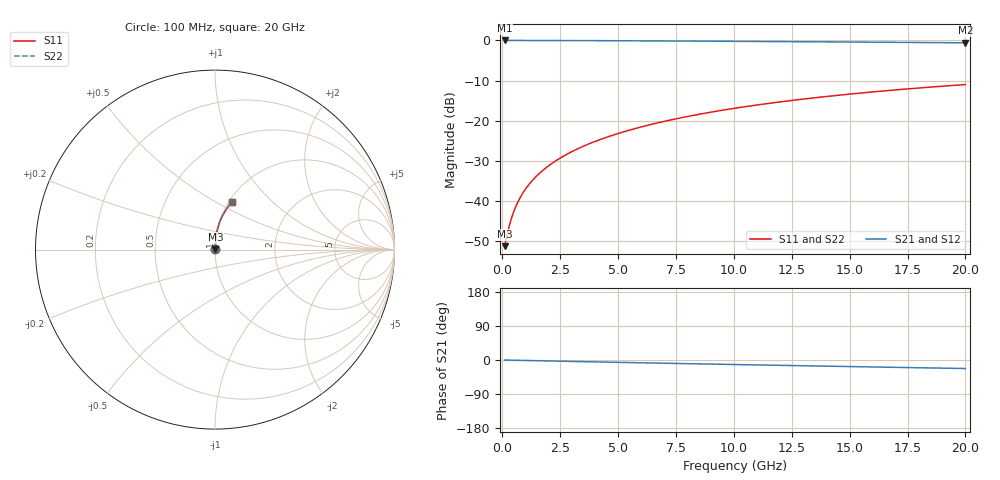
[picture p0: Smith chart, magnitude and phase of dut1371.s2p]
! Touchstone file exported from HFSS 2024.1.0
!  File:  C:/UserFiles/LocalFiles/RDL_TSV_Batchsim/temp_RDL_bottom_1371_1780371142.aedt
!  Generated:  11:35:01 AM Jun  2, 2026
!  Design:  RDL_bottom
!  Project:  temp_RDL_bottom_1371_1780371142
!  Setup:  Setup1
!  Solution:  Sweep
! Variables:
!  dtsv = 10.80580581um
!  hbump = 3um
!  htsv = 65.86um
!  ldown = 233.87um
!  lrdl = 100um
!  p = 40
!  p1 = 58.6um
!  rhole = 1um
!  t = 450um
!  tdown = 2.27um
!  trdl = 3.915915916um
!  wdown = 18.02um
!  wrdl = 20um
# GHz S MA R 50.000000
! Terminal data exported
! Port[1] = RDL1_T1
! Port[2] = RDL1_T2
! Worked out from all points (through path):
!   200 points, 100 MHz to 20 GHz, reference 50 ohm
!   highest |S21| = -0.02 dB at 100 MHz (marker M1); lowest = -0.6 dB at 20 GHz (marker M2)
!   group delay of S21, straight-line fit = 3.11 ps
!   lowest |S11| = -51.2 dB at 100 MHz (marker M3), VSWR 1.01, Z = 50.2 + j0.144 ohm
!   |S11| at or under -10 dB: start of sweep to end of sweep
!   |S22| runs from -51.2 to -11.0 dB; largest |S21 - S12| = 2.6e-15
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0.1  0.002745 31.4  0.9977 -0.1  0.9977 -0.1  0.002745 31.4
! Gamma 0 0 0 0
! Port Impedance 50 0 50 0
0.2  0.003712 50.1  0.9976 -0.3  0.9976 -0.3  0.003712 50.1
0.3  0.004899 60.3  0.9975 -0.4  0.9975 -0.4  0.004899 60.3
0.4  0.006167 66.2  0.9975 -0.5  0.9975 -0.5  0.006167 66.2
0.5  0.007465 70.1  0.9974 -0.6  0.9974 -0.6  0.007465 70.1
0.6  0.008776 72.7  0.9973 -0.8  0.9973 -0.8  0.008776 72.7
0.8  0.01141 76.3  0.9971 -1.0  0.9971 -1.0  0.01141 76.3
1.1  0.01539 79.3  0.9968 -1.4  0.9968 -1.4  0.01539 79.3
1.5  0.02073 81.7  0.9964 -1.9  0.9964 -1.9  0.02073 81.7
1.8  0.02477 82.7  0.9961 -2.3  0.9961 -2.3  0.02477 82.7
2.1  0.02883 83.5  0.9957 -2.7  0.9957 -2.7  0.02883 83.5
2.7  0.03703 84.4  0.9947 -3.4  0.9947 -3.4  0.03703 84.4
3.5  0.04812 85.0  0.9932 -4.4  0.9932 -4.4  0.04812 85.0
4.2  0.05795 85.1  0.9916 -5.2  0.9916 -5.2  0.05795 85.1
5  0.06932 85.0  0.9896 -6.2  0.9896 -6.2  0.06933 85.0
5.9  0.08228 84.6  0.9871 -7.3  0.9871 -7.3  0.08228 84.6
6.8  0.09537 84.0  0.9844 -8.3  0.9844 -8.3  0.09538 84.0
8.4  0.1188 82.7  0.9792 -10.1  0.9792 -10.1  0.1188 82.7
10.1  0.1438 81.1  0.9733 -12.0  0.9733 -12.0  0.1438 81.1
13.4  0.1917 77.6  0.9608 -15.6  0.9608 -15.6  0.1917 77.6
16.7  0.238 74.0  0.9471 -19.1  0.9471 -19.1  0.238 74.0
20  0.282 70.4  0.9324 -22.5  0.9324 -22.5  0.2821 70.4
